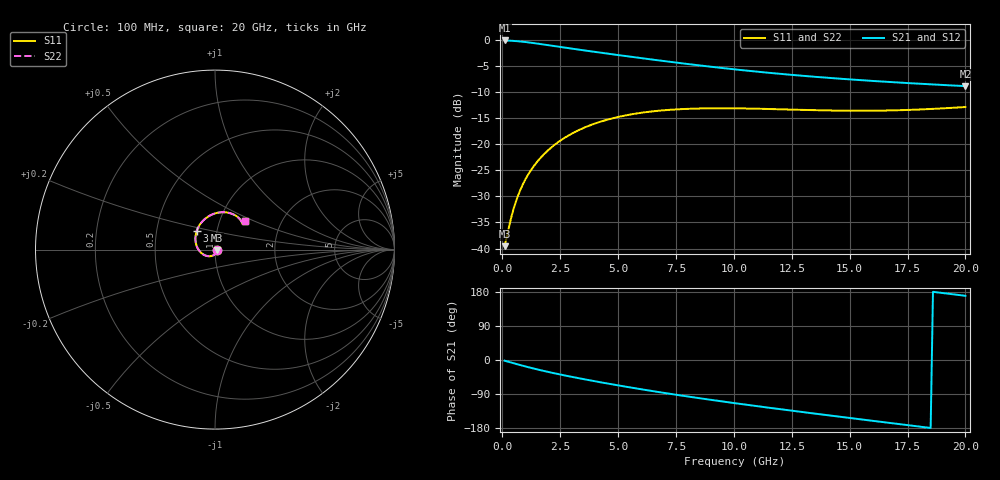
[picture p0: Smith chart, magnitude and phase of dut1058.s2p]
! Touchstone file exported from HFSS 2024.1.0
!  File:  C:/UserFiles/LocalFiles/RDL_TSV_Batchsim/temp_RDL_TSV_1058_1780090217.aedt
!  Generated:  05:43:27 AM May 30, 2026
!  Design:  RDL_TSV
!  Project:  temp_RDL_TSV_1058_1780090217
!  Setup:  Setup1
!  Solution:  Sweep
! Variables:
!  dtsv = 11.57um
!  hbump = 3um
!  htsv = 93.33um
!  ldown = 561.78um
!  lrdl = 201.2um
!  p = 40
!  p1 = 45.54um
!  rhole = 10um
!  subl = 2490.14um
!  t = 450um
!  tdown = 4.67um
!  trdl = 3.87um
!  viad = 10um
!  wdown = 23.47um
!  wrdl = 22.65um
!  xbump = 18um
# GHz S MA R 50.000000
! Terminal data exported
! Port[1] = TM1_1_T1
! Port[2] = TM1_4_T1
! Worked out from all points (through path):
!   200 points, 100 MHz to 20 GHz, reference 50 ohm
!   highest |S21| = -0.09 dB at 100 MHz (marker M1); lowest = -8.8 dB at 20 GHz (marker M2)
!   group delay of S21, straight-line fit = 24.9 ps
!   lowest |S11| = -39.5 dB at 100 MHz (marker M3), VSWR 1.02, Z = 50.9 - j0.481 ohm
!   |S11| at or under -10 dB: start of sweep to end of sweep
!   |S22| runs from -39.5 to -12.9 dB; largest |S21 - S12| = 2.6e-14
!   S11 on the Smith chart (normalised r, x): 100 MHz: 1.02, -0.01; 3.6 GHz: 0.80, +0.17; 20 GHz: 1.31, +0.43
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0.1  0.01054 -26.6  0.9897 -1.8  0.9897 -1.8  0.01054 -26.6
! Gamma 0 0 0 0
! Port Impedance 50 0 50 0
0.4  0.02041 -78.3  0.9828 -7.1  0.9828 -7.1  0.02041 -78.3
0.6  0.02877 -98.2  0.9757 -10.5  0.9757 -10.5  0.02877 -98.2
0.9  0.04177 -120.6  0.9615 -15.4  0.9615 -15.4  0.04176 -120.5
1.2  0.0548 -138.6  0.944 -20.2  0.944 -20.2  0.0548 -138.6
1.7  0.0761 -163.5  0.9112 -27.6  0.9112 -27.6  0.0761 -163.5
2.2  0.09647 176.0  0.8775 -34.4  0.8775 -34.4  0.09646 176.0
2.8  0.1192 155.7  0.8386 -42.0  0.8386 -42.0  0.1192 155.7
3.5  0.1431 136.4  0.7967 -50.4  0.7967 -50.4  0.143 136.4
3.6  0.1462 134.0  0.791 -51.5  0.791 -51.5  0.1462 134.0
4.3  0.1662 118.7  0.7528 -59.4  0.7528 -59.4  0.1662 118.7
5.1  0.1848 104.2  0.7122 -68.0  0.7122 -68.0  0.1847 104.3
5.9  0.1989 92.3  0.6745 -76.2  0.6745 -76.2  0.1989 92.4
6.8  0.2102 81.3  0.6354 -85.1  0.6354 -85.1  0.2101 81.3
8.4  0.2201 66.3  0.5743 -99.8  0.5743 -99.8  0.2201 66.3
10.1  0.2211 55.4  0.5208 -114.4  0.5208 -114.4  0.221 55.4
11.7  0.2174 48.7  0.4802 -127.4  0.4802 -127.4  0.2173 48.7
13.4  0.2125 44.7  0.4454 -140.7  0.4454 -140.7  0.2123 44.8
15  0.2097 43.2  0.4189 -153.0  0.4189 -153.0  0.2096 43.2
16.7  0.2109 43.0  0.3958 -165.8  0.3958 -165.8  0.2108 43.1
18.3  0.2168 43.4  0.3777 -177.9  0.3777 -177.9  0.2168 43.5
20  0.2275 43.5  0.3611 169.4  0.3611 169.4  0.2276 43.7
